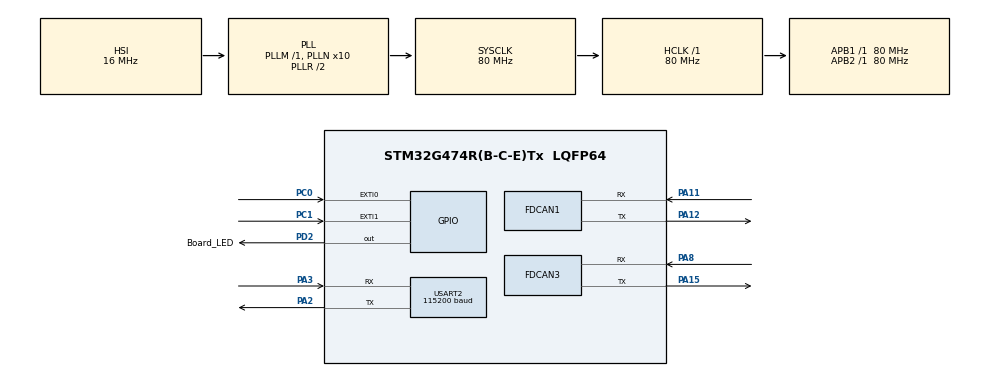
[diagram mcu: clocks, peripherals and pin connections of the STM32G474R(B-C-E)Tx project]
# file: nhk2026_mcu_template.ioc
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FDCAN1.AutoRetransmission=DISABLE
FDCAN1.CalculateBaudRateNominal=1000000
FDCAN1.CalculateTimeQuantumNominal=50.0
FDCAN1.ClockDivider=FDCAN_CLOCK_DIV1
FDCAN1.DataPrescaler=2
FDCAN1.DataSyncJumpWidth=1
FDCAN1.DataTimeSeg1=15
FDCAN1.DataTimeSeg2=4
FDCAN1.ExtFiltersNbr=0
FDCAN1.FrameFormat=FDCAN_FRAME_FD_BRS
FDCAN1.Mode=FDCAN_MODE_NORMAL
FDCAN1.NominalPrescaler=4
FDCAN1.NominalSyncJumpWidth=1
FDCAN1.NominalTimeSeg1=15
FDCAN1.NominalTimeSeg2=4
FDCAN1.ProtocolException=DISABLE
FDCAN1.StdFiltersNbr=1
FDCAN1.TransmitPause=DISABLE
FDCAN1.TxFifoQueueMode=FDCAN_TX_FIFO_OPERATION
FDCAN3.CalculateBaudRateNominal=1000000
FDCAN3.CalculateTimeBitNominal=1000
FDCAN3.CalculateTimeQuantumNominal=50.0
FDCAN3.DataPrescaler=2
FDCAN3.DataTimeSeg1=15
FDCAN3.DataTimeSeg2=4
FDCAN3.ExtFiltersNbr=1
FDCAN3.FrameFormat=FDCAN_FRAME_FD_BRS
FDCAN3.NominalPrescaler=4
FDCAN3.NominalTimeSeg1=15
FDCAN3.NominalTimeSeg2=4
FDCAN3.StdFiltersNbr=1
Mcu.Family=STM32G4
Mcu.Name=STM32G474R(B-C-E)Tx
Mcu.Package=LQFP64
NVIC.EXTI0_IRQn=true\:0\:0\:false\:false\:true\:true\:true\:true
NVIC.EXTI1_IRQn=true\:0\:0\:false\:false\:true\:true\:true\:true
NVIC.FDCAN1_IT0_IRQn=true\:0\:0\:false\:false\:true\:true\:true\:true
NVIC.FDCAN1_IT1_IRQn=true\:0\:0\:false\:false\:true\:true\:true\:true
NVIC.FDCAN3_IT0_IRQn=true\:0\:0\:false\:false\:true\:true\:true\:true
NVIC.FDCAN3_IT1_IRQn=true\:0\:0\:false\:false\:true\:true\:true\:true
NVIC.PriorityGroup=NVIC_PRIORITYGROUP_4
NVIC.TIM6_DAC_IRQn=true\:0\:0\:false\:false\:true\:true\:true\:true
PA11.Mode=FDCAN_Activate
PA11.Signal=FDCAN1_RX
PA12.Mode=FDCAN_Activate
PA12.Signal=FDCAN1_TX
PA15.Mode=FDCAN_Activate
PA15.Signal=FDCAN3_TX
PA2.Mode=Asynchronous
PA2.Signal=USART2_TX
PA3.Mode=Asynchronous
PA3.Signal=USART2_RX
PA8.Mode=FDCAN_Activate
PA8.Signal=FDCAN3_RX
PC0.GPIO_ModeDefaultEXTI=GPIO_MODE_IT_FALLING
PC0.GPIO_PuPd=GPIO_PULLUP
PC0.Signal=GPXTI0
PC1.GPIO_ModeDefaultEXTI=GPIO_MODE_IT_RISING
PC1.GPIO_PuPd=GPIO_PULLUP
PC1.Signal=GPXTI1
PD2.GPIO_Label=Board_LED
PD2.Signal=GPIO_Output
PF0-OSC_IN.Mode=HSE-External-Oscillator
PF0-OSC_IN.Signal=RCC_OSC_IN
PF1-OSC_OUT.Mode=HSE-External-Oscillator
PF1-OSC_OUT.Signal=RCC_OSC_OUT
ProjectManager.HeapSize=0x200
ProjectManager.StackSize=0x400
ProjectManager.TargetToolchain=CMake
RCC.ADC12Freq_Value=80000000
RCC.ADC345Freq_Value=80000000
RCC.AHBFreq_Value=80000000
RCC.APB1Freq_Value=80000000
RCC.APB1TimFreq_Value=80000000
RCC.APB2Freq_Value=80000000
RCC.APB2TimFreq_Value=80000000
RCC.CortexFreq_Value=80000000
RCC.EXTERNAL_CLOCK_VALUE=12288000
RCC.FLatency=FLASH_LATENCY_2
RCC.HCLKFreq_Value=80000000
RCC.HSE_VALUE=8000000
RCC.HSI48_VALUE=48000000
RCC.HSI_VALUE=16000000
RCC.LSE_VALUE=32768
RCC.PLLN=10
RCC.SYSCLKFreq_VALUE=80000000
RCC.SYSCLKSource=RCC_SYSCLKSOURCE_PLLCLK
RCC.USBFreq_Value=80000000
RCC.VCOOutputFreq_Value=160000000
TIM6.AutoReloadPreload=TIM_AUTORELOAD_PRELOAD_DISABLE
TIM6.CounterMode=TIM_COUNTERMODE_UP
TIM6.Dithering=Disable
TIM6.PeriodNoDither=999
TIM6.Prescaler=79
TIM6.TIM_MasterOutputTrigger=TIM_TRGO_RESET
USART2.AutoBaudRateEnableParam=UART_ADVFEATURE_AUTOBAUDRATE_DISABLE
USART2.BaudRate=115200
USART2.ClockPrescaler=PRESCALER_DIV1
USART2.DMADisableonRxErrorParam=ADVFEATURE_DMA_ENABLEONRXERROR
USART2.DataInvertParam=ADVFEATURE_DATAINV_DISABLE
USART2.FIFOMode=FIFOMODE_DISABLE
USART2.MSBFirstParam=ADVFEATURE_MSBFIRST_DISABLE
USART2.Mode=MODE_TX_RX
USART2.OneBitSampling=UART_ONE_BIT_SAMPLE_DISABLE
USART2.OverSampling=UART_OVERSAMPLING_16
USART2.OverrunDisableParam=ADVFEATURE_OVERRUN_ENABLE
USART2.Parity=PARITY_NONE
USART2.RXFIFOThreshold=RXFIFO_THRESHOLD_1EIGHTHFULL
USART2.RxPinLevelInvertParam=ADVFEATURE_RXINV_DISABLE
USART2.StopBits=STOPBITS_1
USART2.SwapParam=ADVFEATURE_SWAP_DISABLE
USART2.TXFIFOThreshold=TXFIFO_THRESHOLD_1EIGHTHFULL
USART2.TxPinLevelInvertParam=ADVFEATURE_TXINV_DISABLE
USART2.VirtualMode-Asynchronous=VM_ASYNC
USART2.WordLength=WORDLENGTH_8B
VP_SYS_VS_DBSignals.Mode=DisableDeadBatterySignals
VP_TIM6_VS_ClockSourceINT.Mode=Enable_Timer
board=custom

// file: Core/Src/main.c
/* USER CODE BEGIN Header */
/**
  ******************************************************************************
  * @file           : main.c
  * @brief          : Main program body
  ******************************************************************************
  * @attention
  *
  * Copyright (c) 2025 STMicroelectronics.
  * All rights reserved.
  *
  * This software is licensed under terms that can be found in the LICENSE file
  * in the root directory of this software component.
  * If no LICENSE file comes with this software, it is provided AS-IS.
  *
  ******************************************************************************
  */
/* USER CODE END Header */
#include "main.h"

/* USER CODE BEGIN Includes */
#include <stdio.h>
#include <memory.h>
#include <math.h>
/* USER CODE END Includes */

/* USER CODE BEGIN PTD */

typedef struct{
    volatile float speed_total_difference;
    volatile float speed_last_time_difference;
    float Kp, Ki, Kd, Ka;
    volatile uint16_t angle_data;
    volatile int16_t speed;
    volatile uint16_t can_id;
    int16_t speed_target;
    int16_t current_target;
    volatile uint16_t angle;
    volatile float current;
    volatile float lowpass_difference;
    volatile float angle_target;
    volatile float last_time_angle;
    volatile float angle_total_difference;
    volatile float angle_last_time_difference;
    volatile float angle_lowpass_difference;
    volatile int16_t rotate_last_time_angle;
    volatile int32_t rotate_total_angle;
    volatile int16_t rotate_now_angle;
    int init_flag;
    int16_t now_current;
    int16_t to_send_current;
    volatile int32_t can_now_time;
} Motor;

typedef struct
{
  uint16_t CANID;
  uint8_t motorID;
  float trgVel;
} hiradora;

typedef float float32_t;
typedef uint16_t float16_t;

typedef struct
{
  int32_t position;  // Current position (rad)
  int16_t velocity;  // Current velocity (rad/s)
  int16_t torque;    // Current torque (Nm)
  uint8_t mode;      // Current mode
  uint8_t error;
}motor_status;

typedef struct
{
  int16_t p_des;     // Target position (rad)
  int16_t v_des;     // Target velocity (rad/s)
  uint16_t kp;       // Position gain
  uint16_t kd;       // Velocity gain
  int16_t t_ff;      // Feed-forward torque (Nm)
}mit_command;

/* USER CODE END PTD */

/* USER CODE BEGIN PD */
#define CAN_ID_MACRO_kaetekudasai 0x7FE   // example CAN ID macro for testing
#define MAIN_CANID 0xFE
#define robo_ID 0x1
#define responce_CANID    0x211
#define robstride_target 0x211
#define robomas_target 0x212
#define motor_target 0x311
#define MOTOR_POWER_LOST_CANID 0x520     //モーターの電源がきれたことをcanで送信する時のid

#define motor_timeout_ms 500             //モーターの通信がきれてから電源がきれたと判断する時間
#define HOMING_SPEED 500

enum
{
  TARGET_ANGLE,
  TARGET_ANGULAR_VELOCITY,
  K_P,
  K_D,
  Torque
};
/* USER CODE END PD */

FDCAN_HandleTypeDef hfdcan1;
FDCAN_HandleTypeDef hfdcan3;

TIM_HandleTypeDef htim6;

UART_HandleTypeDef huart2;

/* USER CODE BEGIN PV */
FDCAN_TxHeaderTypeDef TxHeader;
FDCAN_TxHeaderTypeDef TxHeader_motor;

volatile uint8_t homing_done_201 = 0;
volatile uint8_t homing_done_202 = 0;

int mode[4] = {1,1,1,1};  // 0:位置制御, 1:速度制御, 2:カスケード制御, 3:電流制御
int motor_power_lost_flag[4] = {0, 0, 0, 0};
Motor motors[4]; // PID制御対象のモーター(ID 0x201~0x204想定)
uint8_t TxData[8] = {0};
uint8_t TxData2[8] = {0};
uint16_t kaitensuu = (uint16_t)(1.4 * 60);
uint8_t cutoff = 8;
uint16_t gravity = 0;

float syuusokuryoku = 0;
uint8_t TxData200[8] = {0}; // ID 1-4 (0x200で送信)用
uint8_t TxData1FF[8] = {0}; // ID 5-8 (0x1FFで送信)用
int16_t karentobaryu = 0;

uint8_t get_id = 0;
uint8_t motor_state=0;
int64_t Elapsed_time;
int len;
uint8_t init_pin = 0;
int is_outer_loop=0;

volatile float robstride_angle = 0.0;//アームの現在角度
volatile float robstride_angle_target = 0.0;

volatile float robomas_target_angle = 0.0;
volatile float target_angle_202 = 0.0f;
volatile float target_angle_201 = 0.0f;
/* USER CODE END PV */

void SystemClock_Config(void);
static void MX_GPIO_Init(void);
static void MX_USART2_UART_Init(void);
static void MX_FDCAN1_Init(void);
static void MX_TIM6_Init(void);
static void MX_FDCAN3_Init(void);
/* USER CODE BEGIN PFP */
void interboard_comms_CAN_filter_init(FDCAN_FilterTypeDef *Hfdcan_Filter_Settings);
void interboard_comms_CAN_txheader_init(FDCAN_TxHeaderTypeDef *Htxheader);
HAL_StatusTypeDef interboard_comms_CAN_RxTxSettings_init(FDCAN_TxHeaderTypeDef *Htxheader);

void motor_CAN_filter_init(FDCAN_FilterTypeDef *Hfdcan_Filter_Settings);
void motor_CAN_txheader_init(FDCAN_TxHeaderTypeDef *Htxheader);
HAL_StatusTypeDef motor_CAN_RxTxSettings_init(FDCAN_TxHeaderTypeDef *Htxheader);
HAL_StatusTypeDef CAN_SEND(uint32_t CANID, uint32_t DataLength, uint8_t *txdata, FDCAN_HandleTypeDef *hfdcan, FDCAN_TxHeaderTypeDef *htxheader);

void move_hiradora(hiradora *Hiradora_handler);
void move_motor(Motor *motor_typedef);
void update_total_angle(Motor *m);
int pid(float v, float mokuhyou, float p, float i, float d, volatile float *gosagoukei, volatile float *lowpastgosa, float gravity, int cutoff, volatile float *maenogosa, int h);
mit_command robosutoraido;
float16_t convert_f32_f16(float32_t);
float32_t convert_f16_f32(float16_t);
void u8_to_int(uint8_t *req, int32_t *des, uint32_t uint8_len);
void u8_to_float(uint8_t *req, float *des, uint32_t uint8_len);
void float_to_u8(float *req, uint8_t *des, uint32_t float_len);
void int_to_u8(int32_t *req, uint8_t *des, uint32_t int_len);

void send_robstride(uint8_t Motor_canid, uint8_t mode, uint8_t *data, uint8_t *data2);

void mit_to_u8(mit_command *cmd, uint8_t *txdata, uint8_t *txdata2);
void move_robstride(mit_command *cmd, uint8_t motor_id);

void get_id_robstride(int motor_id);
void robstride_set_mechanical_zero(uint8_t motor_id);
void robstride_write_param_u32(uint8_t motor_id, uint16_t index, uint32_t value);
void robstride_write_param_f32(uint8_t motor_id, uint16_t index, float value);
void robstride_mode_pp_init(uint8_t motor_id, float vel_max, float acc_set);
void robstride_move(uint8_t motor_id, float target_position);
void robstride_enable_run(uint8_t motor_id);
void robstride_disable_or_clear_fault(uint8_t motor_id, uint8_t clear);

uint16_t map_robstride(float x, int mode);
/* USER CODE END PFP */

/* USER CODE BEGIN 0 */

float unmap_robstride(uint16_t x, int mode)
{
    float before_min, before_max, after_min, after_max;
    switch(mode)
    {
        case TARGET_ANGLE:
            before_min = 0.0;
            before_max = 65535.0;
            after_min = -4 * M_PI;
            after_max = 4 * M_PI;
            break;
        case TARGET_ANGULAR_VELOCITY:
            before_min = 0.0;
            before_max = 65535.0;
            after_min = -44.0;
            after_max = 44.0;
            break;
        case Torque:
            before_min = 0.0;
            before_max = 65535.0;
            after_min = -17.0;
            after_max = 17.0;
            break;
        default:
            return 0.0f;
    }
    return after_min + ((float)x - before_min) * (after_max - after_min) / (before_max - before_min);
}

// void HAL_GPIO_EXTI_Callback(uint16_t GPIO_Pin) {
//   if((kokoichi_Pin==GPIO_Pin)){
//     if(motor_state==0){
//       motor_state=1;
//       Elapsed_time=HAL_GetTick();
//     }else {
//       init_pin = 1;
//     }

//   }
// }

void HAL_GPIO_EXTI_Callback(uint16_t GPIO_Pin)
{
  if (GPIO_Pin == GPIO_PIN_0) //0x202用リミットスイッチ
  {
    // 角度を0とみなす処理は毎回
    motors[1].rotate_last_time_angle   = motors[1].angle_data;
    motors[1].rotate_total_angle       = 0;
    motors[1].angle_target             = 0.0f;
    motors[1].angle_total_difference   = 0;
    motors[1].angle_last_time_difference = 0;
    motors[1].angle_lowpass_difference = 0;
    motors[1].speed_total_difference   = 0;
    motors[1].speed_last_time_difference = 0;
    motors[1].lowpass_difference       = 0;

    // ホーミング完了フラグは最初の1回だけ
    if (!homing_done_202)
    {
      homing_done_202 = 1;
    }
  }
  else if (GPIO_Pin == GPIO_PIN_1) //0x201用リミットスイッチ
  {

    // ホーミング完了フラグは最初の1回だけ
    if (!homing_done_201)
    {
      // 角度を0とみなす処理は毎回
      motors[0].rotate_last_time_angle   = motors[0].angle_data;
      motors[0].rotate_total_angle       = 0;
      motors[0].angle_target             = 0.0f;
      motors[0].angle_total_difference   = 0;
      motors[0].angle_last_time_difference = 0;
      motors[0].angle_lowpass_difference = 0;
      motors[0].speed_total_difference   = 0;
      motors[0].speed_last_time_difference = 0;
      motors[0].lowpass_difference       = 0;
      homing_done_201 = 1;
    }
  }
}

void HAL_FDCAN_RxFifo1Callback(FDCAN_HandleTypeDef *hfdcan, uint32_t RxFifo1ITs){
	if (RESET != (RxFifo1ITs & FDCAN_IT_RX_FIFO1_NEW_MESSAGE)) {

    /* Retrieve Rx messages from RX FIFO1 */
		uint8_t RxData[64] = {};
    FDCAN_RxHeaderTypeDef RxHeader;
		if (HAL_OK != HAL_FDCAN_GetRxMessage(&hfdcan1, FDCAN_RX_FIFO1, &RxHeader, RxData)) {
			printf("fdcan_getrxmessage is error\r\n");
			Error_Handler();
		}

    len = 0;
    switch (RxHeader.DataLength)
    {
    case FDCAN_DLC_BYTES_0:
      len = 0;
      break;
    case FDCAN_DLC_BYTES_1:
      len = 1;
      break;
    case FDCAN_DLC_BYTES_2:
      len = 2;
      break;
    case FDCAN_DLC_BYTES_3:
      len = 3;
      break;
    case FDCAN_DLC_BYTES_4:
      len = 4;
      break;
    case FDCAN_DLC_BYTES_5:
      len = 5;
      break;
    case FDCAN_DLC_BYTES_6:
      len = 6;
      break;
    case FDCAN_DLC_BYTES_7:
      len = 7;
      break;
    case FDCAN_DLC_BYTES_8:
      len = 8;
      break;
    case FDCAN_DLC_BYTES_12:
      len = 12;
      break;
    case FDCAN_DLC_BYTES_16:
      len = 16;
      break;
    case FDCAN_DLC_BYTES_20:
      len = 20;
      break;
    case FDCAN_DLC_BYTES_24:
      len = 24;
      break;
    case FDCAN_DLC_BYTES_32:
      len = 32;
      break;
    case FDCAN_DLC_BYTES_48:
      len = 48;
      break;
    case FDCAN_DLC_BYTES_64:
      len = 64;
      break;
    default:
      break;
    }

    float rxdata_f[5];

  switch (RxHeader.Identifier)
  {
    case 0x230:  // 角度目標(度数)を受信
      int32_t rxdata_i[2];
      u8_to_int(RxData, rxdata_i, len);
      target_angle_202 = (float)rxdata_i[0] * 8192.0f / 360.0f * 36.0f;  // 前半
      target_angle_201 = (float)rxdata_i[1] * 8192.0f / 360.0f * 36.0f;  // 後半
    break;
    case motor_target:
      u8_to_float(RxData,rxdata_f,len);
      robstride_angle_target = rxdata_f[0];
      robomas_target_angle  = rxdata_f[3]*8192.0 / 360.0 * 180.0 /M_PI*36;
    break;
  default:
    break;
}

}

}

void HAL_FDCAN_RxFifo0Callback(FDCAN_HandleTypeDef *hfdcan, uint32_t RxFifo0ITs) {

  uint8_t RxData[8] = {0};
  FDCAN_RxHeaderTypeDef RxHeader;

  if ((RxFifo0ITs & FDCAN_IT_RX_FIFO0_NEW_MESSAGE) != RESET) {
    if (HAL_OK != HAL_FDCAN_GetRxMessage(&hfdcan3, FDCAN_RX_FIFO0, &RxHeader, RxData)) {
      printf("fdcan_getrxmessage_motor is error\r\n");
      Error_Handler();
    }

    if (FDCAN_STANDARD_ID == RxHeader.IdType)
    {
      // モーター情報の更新 (Input 2のロジックを採用)
      for (int i = 0; i < 4; i++) {
        if (RxHeader.Identifier == motors[i].can_id) {
          motors[i].angle_data = (uint16_t)((RxData[0] << 8) | RxData[1]);
          motors[i].speed = (int16_t)((RxData[2] << 8) | RxData[3]);
          motors[i].now_current = (int16_t)((RxData[4] << 8) | RxData[5]); // トルク電流
          motors[i].init_flag = 1;
          motors[i].can_now_time = HAL_GetTick();
        }
      }
    }
    else if (FDCAN_EXTENDED_ID == RxHeader.IdType)
    {
      uint8_t cmd_type = (RxHeader.Identifier >> 24) & 0x1F;
      uint8_t motor_id = (RxHeader.Identifier >> 8) & 0xFF; // 下位8bitがモーターID

      if (cmd_type == 0x00)
      {
        get_id = (uint16_t)((RxHeader.Identifier >> 8) & 0xFFFFu);
      }
      else if (cmd_type == 0x02) // Motor operation status feedback
      {
        // 最初の2バイトが角度データ
        uint16_t angle_u16 = (RxData[0] << 8) | RxData[1];
        float actual_angle = unmap_robstride(angle_u16, TARGET_ANGLE);

        if (motor_id == robo_ID) {
          robstride_angle = actual_angle;
        }
      }

    }
  }
}

void HAL_TIM_PeriodElapsedCallback(TIM_HandleTypeDef *htim) {

  uint32_t now = HAL_GetTick();

  for (int h = 0; h < 2; h++) {
    if (motors[h].init_flag == 1) {
      if (1199 > (now - motors[h].can_now_time) && (now - motors[h].can_now_time) > motor_timeout_ms) {
        // 電源断が続いている間、0.5から1.2秒の間は毎回送信
        int32_t power_status = 1;
        uint8_t pwr_data[8] = {0};
        int_to_u8(&power_status, pwr_data, 1);

        FDCAN_TxHeaderTypeDef TxHeader_pwr = TxHeader;
        CAN_SEND(MOTOR_POWER_LOST_CANID, FDCAN_DLC_BYTES_8, pwr_data, &hfdcan1, &TxHeader_pwr);
      }
    }
  }

  // モーター0が一度でも通信できていて、かつ最後の通信から1200ms以上経過したら電源が切れたと判断
  if (motors[0].init_flag == 1 && (now - motors[0].can_now_time) > 1200) {
    NVIC_SystemReset(); // マイコン自身を強制的に再起動（初期化）する
  }

  if (htim == &htim6) {
    int send200_flag = 0;
    int send1FF_flag = 0;
    static int init_flag_201 = 0;
    static int init_flag_202 = 0;

    /*初期状態でリミットスイッチを押しているか判定*/
    if (HAL_GPIO_ReadPin(GPIOC, GPIO_PIN_1) == GPIO_PIN_SET  && init_flag_201 == 0 && motors[0].init_flag == 1)   // PC1: motors[0](0x201)用。実際の押下時レベルに合わせて条件を要確認
    {
      motors[0].rotate_last_time_angle   = motors[0].angle_data;
      motors[0].rotate_total_angle       = 0;
      motors[0].angle_target             = 0.0f;
      motors[0].angle_total_difference   = 0;
      motors[0].angle_last_time_difference = 0;
      motors[0].angle_lowpass_difference = 0;
      motors[0].speed_total_difference   = 0;
      motors[0].speed_last_time_difference = 0;
      motors[0].lowpass_difference       = 0;
      homing_done_201 = 1;
      init_flag_201 = 1;
    }
  if (HAL_GPIO_ReadPin(GPIOC, GPIO_PIN_0) == GPIO_PIN_RESET && init_flag_202 == 0 && motors[1].init_flag == 1) // PC0: motors[1](0x202)用。実際の押下時レベルに合わせて条件を要確認
  {
    motors[1].rotate_last_time_angle   = motors[1].angle_data;
    motors[1].rotate_total_angle       = 0;
    motors[1].angle_target             = 0.0f;
    motors[1].angle_total_difference   = 0;
    motors[1].angle_last_time_difference = 0;
    motors[1].angle_lowpass_difference = 0;
    motors[1].speed_total_difference   = 0;
    motors[1].speed_last_time_difference = 0;
    motors[1].lowpass_difference       = 0;
    homing_done_202 = 1;
    init_flag_202 = 1;
  }

    for (int h = 0; h < 4; h++) {

      uint8_t need_homing  = 0;
      uint8_t homing_ready = 1;   // ホーミング不要なモーターは常に「完了扱い」

      if (motors[h].can_id == 0x201) {
        need_homing  = 1;
        homing_ready = homing_done_201;
      } else if (motors[h].can_id == 0x202) {
        need_homing  = 1;
        homing_ready = homing_done_202;
      }

      if (need_homing && !homing_ready) {
        mode[h] = 1; // 原点探索中: 速度制御
      } else {
        mode[h] = 2; // カスケード制御(通常運転)
        if (motors[h].can_id == 0x201) {
          motors[h].angle_target = target_angle_201;
          if (motors[h].angle_target > 0.0f) {
            motors[h].angle_target = 0.0f;
          }
        } else if (motors[h].can_id == 0x202) {
          motors[h].angle_target = target_angle_202;
        }
      }

      motors[h].rotate_now_angle = motors[h].angle_data;
      update_total_angle(&motors[h]);

      if (mode[h] == 1) {
        //一定速度でリミットスイッチに向かって回転
        motors[h].speed_target = HOMING_SPEED;

        motors[h].Kp = 5.0f;
        motors[h].Ki = 1.0f;
        motors[h].Kd = 10.0f;
        is_outer_loop = 0;

        karentobaryu = (int)pid(
          (float)motors[h].speed, (float)motors[h].speed_target,
          motors[h].Kp, motors[h].Ki, motors[h].Kd,
          &motors[h].speed_total_difference, &motors[h].lowpass_difference,
        gravity, cutoff, &motors[h].speed_last_time_difference, h);
      }

      if (mode[h] == 2) {
        // (ここから下は既存のカスケード制御ロジックをそのまま)
        motors[h].Kp = 1.2f;
        motors[h].Ki = 0.0f;
        motors[h].Kd = 0.0f;
        is_outer_loop = 1;
        motors[h].speed_target = (int)pid(
        (float)motors[h].rotate_total_angle, motors[h].angle_target,
        motors[h].Kp, motors[h].Ki, motors[h].Kd,
        &motors[h].angle_total_difference, &motors[h].angle_lowpass_difference,
        gravity, cutoff, &motors[h].angle_last_time_difference, h);
        if (motors[h].speed_target >  5200) motors[h].speed_target =  5200;
        if (motors[h].speed_target < -5200) motors[h].speed_target = -5200;

        motors[h].Kp = 5.0f;
        motors[h].Ki = 1.0f;
        motors[h].Kd = 10.0f;
        is_outer_loop = 0;
        karentobaryu = (int)pid(
        (float)motors[h].speed, (float)motors[h].speed_target,
        motors[h].Kp, motors[h].Ki, motors[h].Kd,
        &motors[h].speed_total_difference, &motors[h].lowpass_difference,
        gravity, cutoff, &motors[h].speed_last_time_difference, h);

        int error_abs = (int)(motors[h].angle_target - motors[h].rotate_total_angle);
        if (error_abs < 0) error_abs = -error_abs;
          #define SOFTZONE 60
        if (error_abs < SOFTZONE) {
          float scale = (float)error_abs / (float)SOFTZONE;
        if (scale < 0.2f) scale = 0.2f;
          karentobaryu = (int)(karentobaryu * scale);
        }

        int speed_abs = (int)motors[h].speed;
        if (speed_abs < 0) speed_abs = -speed_abs;

        static uint32_t allowable_error[4] = {0};
        if (error_abs < 40 && speed_abs < 40) allowable_error[h] = 1;
        if (error_abs > 80)                   allowable_error[h] = 0;

        if (allowable_error[h]) {
          karentobaryu = 0;
          motors[h].angle_total_difference = 0;
          motors[h].speed_total_difference = 0;
          motors[h].angle_last_time_difference = 0;
          motors[h].speed_last_time_difference = 0;
        }
      }
      if (mode[h] == 3) { // 電流制御
        motors[h].current_target=1000;
        // motors[h].Kp = 15.0;
        // motors[h].Ki = 8.0;
        // motors[h].Kd = 0.0;
        //karentobaryu=(int)(pid(motors[h].c_current,motors[h].cmokuhyou,motors[h].Kp,motors[h].Ki,motors[h].Kd,&motors[h].gosagoukei,&motors[h].lowpastgosa,gravity,cutoff,&motors[h].maenogosa));
        karentobaryu = motors[h].current_target;
      }

      // 送信データの作成
      if (motors[h].can_id >= 0x201 && motors[h].can_id <= 0x204) {
        int idx = (motors[h].can_id - 0x201) * 2;
        TxData200[idx] = (karentobaryu >> 8) & 0xFF;
        TxData200[idx + 1] = karentobaryu & 0xFF;
        send200_flag = 1;
      } else if (motors[h].can_id >= 0x205 && motors[h].can_id <= 0x208) {
        int idx = (motors[h].can_id - 0x205) * 2;
        TxData1FF[idx] = (karentobaryu >> 8) & 0xFF;
        TxData1FF[idx + 1] = karentobaryu & 0xFF;
        send1FF_flag = 1;
      }

      motors[h].angle = motors[h].angle_data * 360 / 8192;
    }

    if (send200_flag) {
      TxHeader_motor.Identifier = 0x200;
      TxHeader_motor.DataLength = FDCAN_DLC_BYTES_8; // 念のため
      if (HAL_FDCAN_AddMessageToTxFifoQ(&hfdcan3, &TxHeader_motor, TxData200) != HAL_OK) {
          // Error Handling
      }
    }

    if (send1FF_flag) {
      TxHeader_motor.Identifier = 0x1FF;
      if (HAL_FDCAN_AddMessageToTxFifoQ(&hfdcan3, &TxHeader_motor, TxData1FF) != HAL_OK) {
          // Error Handling
      }
    }

    static int send_counter = 0;
    send_counter++;
    if(send_counter >= 10){
      send_counter = 0;
      float robomas_angle = motors[0].rotate_total_angle /  8192.0 * 2 * M_PI;
      float motor_angle[2] = {robstride_angle,robomas_angle};

      uint8_t tx_angle[8];
      float_to_u8(motor_angle,tx_angle,2);

      FDCAN_TxHeaderTypeDef TxHeader_angle = TxHeader;
      CAN_SEND(responce_CANID, FDCAN_DLC_BYTES_8, tx_angle, &hfdcan1, &TxHeader_angle);

    }
  }
}

int _write(int file,char *ptr,int len)
{
  HAL_UART_Transmit(&huart2, (uint8_t*)ptr, len, 10);
  return len;
}
/* USER CODE END 0 */

int main(void)
{

  /* USER CODE BEGIN 1 */
  setbuf(stdout, NULL);
  /* USER CODE END 1 */

  /* MCU Configuration--------------------------------------------------------*/

  /* Reset of all peripherals, Initializes the Flash interface and the Systick. */
  HAL_Init();

  /* Configure the system clock */
  SystemClock_Config();

  /* Initialize all configured peripherals */
  MX_GPIO_Init();
  MX_USART2_UART_Init();
  MX_FDCAN1_Init();
  MX_TIM6_Init();
  MX_FDCAN3_Init();
  /* USER CODE BEGIN 2 */

  __HAL_RCC_CLEAR_RESET_FLAGS();

  if (HAL_OK != interboard_comms_CAN_RxTxSettings_init(&TxHeader)) Error_Handler();
  HAL_TIM_Base_Start_IT(&htim6);
  if (HAL_OK != motor_CAN_RxTxSettings_init(&TxHeader_motor)) Error_Handler();

  robosutoraido.p_des=0; robosutoraido.v_des=1000; robosutoraido.kd=3000; robosutoraido.kp=3000; robosutoraido.t_ff=1000;

  for (int i = 0; i < 4; i++) {
    motors[i].Kp = 1.0;     // 位置制御用ゲイン (調整してください)
    motors[i].Ki = 0.0;
    motors[i].Kd = 0.0;     // 必要に応じて入れる
    motors[i].can_id = 0x201 + i;
    motors[i].init_flag = 0;

    motors[i].speed_total_difference = 0;
    motors[i].speed_last_time_difference = 0;
    motors[i].speed = 0;
    motors[i].angle_data = 0;
    motors[i].rotate_total_angle = 0;      // とりあえず0
    motors[i].lowpass_difference = 0;
  }

  printf("start!\r\n");
  printf("Waiting for motor data to set HOME position...\r\n");

  // --- 1. まずモーターからの通信が来るのを待つ ---
  // これがないと、初期位置(last_raw_ecd)が0のまま計算が始まり、
  // 起動直後に巨大な角度変化として誤検知されて暴走する。
  while (1) {
    int ready_count = 0;
    for (int i = 0; i < 4; i++) {
      if (motors[i].init_flag == 1) {
        ready_count++;
      }
    }
    // とりあえず1個でも通信できたら次へ（全モーター繋いでいるなら == 4 にする）
    if (ready_count >= 1) {
      HAL_Delay(100); // データ安定待ち
      break;
    }
    HAL_Delay(10);
  }

  printf("Motor data received. Setting current position as ZERO.\r\n");

  for (int i = 0; i < 4; i++) {
  motors[i].rotate_last_time_angle = motors[i].angle_data;
  motors[i].rotate_total_angle = 0;
  motors[i].angle_target = 0.0f;   // 0度
  motors[i].angle_total_difference = 0;
  motors[i].angle_last_time_difference = 0;
  motors[i].angle_lowpass_difference = 0;
  }

  robstride_disable_or_clear_fault(robo_ID, 1);
  HAL_Delay(50);

  robstride_mode_pp_init(robo_ID, 1.0, 1.0);
  HAL_Delay(10);

  /* USER CODE END 2 */

  /* Infinite loop */
  /* USER CODE BEGIN WHILE */
  while (1)
  {
    // robstride_move(robo_ID, robstride_angle_target);
    // printf("angle:%f,robmas:%d\r\n",robstride_angle,(int)robomas_target_angle);
    printf("angle:%f\r\n",(int)robomas_target_angle);
    HAL_Delay(100);
    /* USER CODE END WHILE */

  }
}

void SystemClock_Config(void)
{
  RCC_OscInitTypeDef RCC_OscInitStruct = {0};
  RCC_ClkInitTypeDef RCC_ClkInitStruct = {0};

  /** Configure the main internal regulator output voltage
  */
  HAL_PWREx_ControlVoltageScaling(PWR_REGULATOR_VOLTAGE_SCALE1);

  /** Initializes the RCC Oscillators according to the specified parameters
  * in the RCC_OscInitTypeDef structure.
  */
  RCC_OscInitStruct.OscillatorType = RCC_OSCILLATORTYPE_HSI;
  RCC_OscInitStruct.HSIState = RCC_HSI_ON;
  RCC_OscInitStruct.HSICalibrationValue = RCC_HSICALIBRATION_DEFAULT;
  RCC_OscInitStruct.PLL.PLLState = RCC_PLL_ON;
  RCC_OscInitStruct.PLL.PLLSource = RCC_PLLSOURCE_HSI;
  RCC_OscInitStruct.PLL.PLLM = RCC_PLLM_DIV1;
  RCC_OscInitStruct.PLL.PLLN = 10;
  RCC_OscInitStruct.PLL.PLLP = RCC_PLLP_DIV2;
  RCC_OscInitStruct.PLL.PLLQ = RCC_PLLQ_DIV2;
  RCC_OscInitStruct.PLL.PLLR = RCC_PLLR_DIV2;
  if (HAL_RCC_OscConfig(&RCC_OscInitStruct) != HAL_OK)
  {
    Error_Handler();
  }

  /** Initializes the CPU, AHB and APB buses clocks
  */
  RCC_ClkInitStruct.ClockType = RCC_CLOCKTYPE_HCLK|RCC_CLOCKTYPE_SYSCLK
                              |RCC_CLOCKTYPE_PCLK1|RCC_CLOCKTYPE_PCLK2;
  RCC_ClkInitStruct.SYSCLKSource = RCC_SYSCLKSOURCE_PLLCLK;
  RCC_ClkInitStruct.AHBCLKDivider = RCC_SYSCLK_DIV1;
  RCC_ClkInitStruct.APB1CLKDivider = RCC_HCLK_DIV1;
  RCC_ClkInitStruct.APB2CLKDivider = RCC_HCLK_DIV1;

  if (HAL_RCC_ClockConfig(&RCC_ClkInitStruct, FLASH_LATENCY_2) != HAL_OK)
  {
    Error_Handler();
  }
}

static void MX_FDCAN1_Init(void)
{

  hfdcan1.Instance = FDCAN1;
  hfdcan1.Init.ClockDivider = FDCAN_CLOCK_DIV1;
  hfdcan1.Init.FrameFormat = FDCAN_FRAME_FD_BRS;
  hfdcan1.Init.Mode = FDCAN_MODE_NORMAL;
  hfdcan1.Init.AutoRetransmission = DISABLE;
  hfdcan1.Init.TransmitPause = DISABLE;
  hfdcan1.Init.ProtocolException = DISABLE;
  hfdcan1.Init.NominalPrescaler = 4;
  hfdcan1.Init.NominalSyncJumpWidth = 1;
  hfdcan1.Init.NominalTimeSeg1 = 15;
  hfdcan1.Init.NominalTimeSeg2 = 4;
  hfdcan1.Init.DataPrescaler = 2;
  hfdcan1.Init.DataSyncJumpWidth = 1;
  hfdcan1.Init.DataTimeSeg1 = 15;
  hfdcan1.Init.DataTimeSeg2 = 4;
  hfdcan1.Init.StdFiltersNbr = 1;
  hfdcan1.Init.ExtFiltersNbr = 0;
  hfdcan1.Init.TxFifoQueueMode = FDCAN_TX_FIFO_OPERATION;
  if (HAL_FDCAN_Init(&hfdcan1) != HAL_OK)
  {
    Error_Handler();
  }

}

static void MX_FDCAN3_Init(void)
{

  hfdcan3.Instance = FDCAN3;
  hfdcan3.Init.ClockDivider = FDCAN_CLOCK_DIV1;
  hfdcan3.Init.FrameFormat = FDCAN_FRAME_FD_BRS;
  hfdcan3.Init.Mode = FDCAN_MODE_NORMAL;
  hfdcan3.Init.AutoRetransmission = DISABLE;
  hfdcan3.Init.TransmitPause = DISABLE;
  hfdcan3.Init.ProtocolException = DISABLE;
  hfdcan3.Init.NominalPrescaler = 4;
  hfdcan3.Init.NominalSyncJumpWidth = 1;
  hfdcan3.Init.NominalTimeSeg1 = 15;
  hfdcan3.Init.NominalTimeSeg2 = 4;
  hfdcan3.Init.DataPrescaler = 2;
  hfdcan3.Init.DataSyncJumpWidth = 1;
  hfdcan3.Init.DataTimeSeg1 = 15;
  hfdcan3.Init.DataTimeSeg2 = 4;
  hfdcan3.Init.StdFiltersNbr = 1;
  hfdcan3.Init.ExtFiltersNbr = 1;
  hfdcan3.Init.TxFifoQueueMode = FDCAN_TX_FIFO_OPERATION;
  if (HAL_FDCAN_Init(&hfdcan3) != HAL_OK)
  {
    Error_Handler();
  }

}

static void MX_TIM6_Init(void)
{

  TIM_MasterConfigTypeDef sMasterConfig = {0};

  htim6.Instance = TIM6;
  htim6.Init.Prescaler = 79;
  htim6.Init.CounterMode = TIM_COUNTERMODE_UP;
  htim6.Init.Period = 999;
  htim6.Init.AutoReloadPreload = TIM_AUTORELOAD_PRELOAD_DISABLE;
  if (HAL_TIM_Base_Init(&htim6) != HAL_OK)
  {
    Error_Handler();
  }
  sMasterConfig.MasterOutputTrigger = TIM_TRGO_RESET;
  sMasterConfig.MasterSlaveMode = TIM_MASTERSLAVEMODE_DISABLE;
  if (HAL_TIMEx_MasterConfigSynchronization(&htim6, &sMasterConfig) != HAL_OK)
  {
    Error_Handler();
  }

}

static void MX_USART2_UART_Init(void)
{

  huart2.Instance = USART2;
  huart2.Init.BaudRate = 115200;
  huart2.Init.WordLength = UART_WORDLENGTH_8B;
  huart2.Init.StopBits = UART_STOPBITS_1;
  huart2.Init.Parity = UART_PARITY_NONE;
  huart2.Init.Mode = UART_MODE_TX_RX;
  huart2.Init.HwFlowCtl = UART_HWCONTROL_NONE;
  huart2.Init.OverSampling = UART_OVERSAMPLING_16;
  huart2.Init.OneBitSampling = UART_ONE_BIT_SAMPLE_DISABLE;
  huart2.Init.ClockPrescaler = UART_PRESCALER_DIV1;
  huart2.AdvancedInit.AdvFeatureInit = UART_ADVFEATURE_NO_INIT;
  if (HAL_UART_Init(&huart2) != HAL_OK)
  {
    Error_Handler();
  }
  if (HAL_UARTEx_SetTxFifoThreshold(&huart2, UART_TXFIFO_THRESHOLD_1_8) != HAL_OK)
  {
    Error_Handler();
  }
  if (HAL_UARTEx_SetRxFifoThreshold(&huart2, UART_RXFIFO_THRESHOLD_1_8) != HAL_OK)
  {
    Error_Handler();
  }
  if (HAL_UARTEx_DisableFifoMode(&huart2) != HAL_OK)
  {
    Error_Handler();
  }

}

static void MX_GPIO_Init(void)
{
  GPIO_InitTypeDef GPIO_InitStruct = {0};

  /* GPIO Ports Clock Enable */
  __HAL_RCC_GPIOF_CLK_ENABLE();
  __HAL_RCC_GPIOC_CLK_ENABLE();
  __HAL_RCC_GPIOA_CLK_ENABLE();
  __HAL_RCC_GPIOD_CLK_ENABLE();

  /*Configure GPIO pin Output Level */
  HAL_GPIO_WritePin(Board_LED_GPIO_Port, Board_LED_Pin, GPIO_PIN_RESET);

  /*Configure GPIO pin : PC0 */
  GPIO_InitStruct.Pin = GPIO_PIN_0;
  GPIO_InitStruct.Mode = GPIO_MODE_IT_FALLING;
  GPIO_InitStruct.Pull = GPIO_PULLUP;
  HAL_GPIO_Init(GPIOC, &GPIO_InitStruct);

  /*Configure GPIO pin : PC1 */
  GPIO_InitStruct.Pin = GPIO_PIN_1;
  GPIO_InitStruct.Mode = GPIO_MODE_IT_RISING;
  GPIO_InitStruct.Pull = GPIO_PULLUP;
  HAL_GPIO_Init(GPIOC, &GPIO_InitStruct);

  /*Configure GPIO pin : Board_LED_Pin */
  GPIO_InitStruct.Pin = Board_LED_Pin;
  GPIO_InitStruct.Mode = GPIO_MODE_OUTPUT_PP;
  GPIO_InitStruct.Pull = GPIO_NOPULL;
  GPIO_InitStruct.Speed = GPIO_SPEED_FREQ_LOW;
  HAL_GPIO_Init(Board_LED_GPIO_Port, &GPIO_InitStruct);

  /* EXTI interrupt init*/
  HAL_NVIC_SetPriority(EXTI0_IRQn, 0, 0);
  HAL_NVIC_EnableIRQ(EXTI0_IRQn);

  HAL_NVIC_SetPriority(EXTI1_IRQn, 0, 0);
  HAL_NVIC_EnableIRQ(EXTI1_IRQn);

}

/* USER CODE BEGIN 4 */
void interboard_comms_CAN_filter_init(FDCAN_FilterTypeDef *Hfdcan_Filter_Settings)
{
  Hfdcan_Filter_Settings->IdType = FDCAN_STANDARD_ID;
  Hfdcan_Filter_Settings->FilterIndex = 0;
  Hfdcan_Filter_Settings->FilterType = FDCAN_FILTER_RANGE;
  Hfdcan_Filter_Settings->FilterConfig = FDCAN_FILTER_TO_RXFIFO1;
  Hfdcan_Filter_Settings->FilterID1 = 0x00;
  Hfdcan_Filter_Settings->FilterID2 = 0x7ff;
}

void interboard_comms_CAN_txheader_init(FDCAN_TxHeaderTypeDef *Htxheader)
{
  Htxheader->Identifier = 0x00;
  Htxheader->IdType = FDCAN_STANDARD_ID;
  Htxheader->TxFrameType = FDCAN_DATA_FRAME;
  Htxheader->DataLength = FDCAN_DLC_BYTES_8;
  Htxheader->ErrorStateIndicator = FDCAN_ESI_ACTIVE;
  Htxheader->FDFormat = FDCAN_FD_CAN;
  Htxheader->BitRateSwitch = FDCAN_BRS_ON;
  Htxheader->TxEventFifoControl = FDCAN_NO_TX_EVENTS;
  Htxheader->MessageMarker = 0;
}

HAL_StatusTypeDef interboard_comms_CAN_RxTxSettings_init(FDCAN_TxHeaderTypeDef *Htxheader)
{
  FDCAN_FilterTypeDef FDCAN_Filter_settings;
  interboard_comms_CAN_filter_init(&FDCAN_Filter_settings);
  interboard_comms_CAN_txheader_init(Htxheader);
  if (HAL_OK != HAL_FDCAN_ConfigFilter(&hfdcan1, &FDCAN_Filter_settings))
  {
    printf("fdcan_configfilter is error\r\n");
    return HAL_ERROR;
  }
  if (HAL_OK != HAL_FDCAN_ConfigGlobalFilter(&hfdcan1, FDCAN_REJECT, FDCAN_FILTER_REJECT, FDCAN_FILTER_REMOTE, FDCAN_FILTER_REMOTE))
  {
    printf("fdcan_configglobalfilter is error\r\n");
    return HAL_ERROR;
  }
  if (HAL_OK != HAL_FDCAN_Start(&hfdcan1))
  {
    printf("fdcan_start is error\r\n");
    return HAL_ERROR;
  }
  if (HAL_OK != HAL_FDCAN_ActivateNotification(&hfdcan1, FDCAN_IT_RX_FIFO1_NEW_MESSAGE, 0))
  {
    printf("fdcan_activatenotification is error\r\n");
    return HAL_ERROR;
  }

  return HAL_OK;
}

// CAN_SEND(0x7FE, TxData, &hfdcan1, &TxHeader); // example usage
HAL_StatusTypeDef CAN_SEND(uint32_t CANID, uint32_t DataLength, uint8_t *txdata, FDCAN_HandleTypeDef *hfdcan, FDCAN_TxHeaderTypeDef *htxheader)
{
  htxheader->DataLength = DataLength;
  htxheader->Identifier = CANID;
  if (HAL_OK != HAL_FDCAN_AddMessageToTxFifoQ(hfdcan, htxheader, txdata))
  {
    return HAL_ERROR;
  }
  return HAL_OK;
}

void u8_to_float(uint8_t *req, float *des, uint32_t uint8_len)
{
  union IntAndFloat {
    uint32_t ival;
    float fval;
  };
  for(int i = 0; i < uint8_len/4; i++){
    uint32_t f32_u32 = ((req[i*4] << 24) | (req[i*4+1] << 16) | (req[i*4+2] << 8) | (req[i*4+3]));
    union IntAndFloat target;
    target.ival = f32_u32;
    des[i] = target.fval;
  }
}

void u8_to_int(uint8_t *req, int32_t *des, uint32_t uint8_len)
{
  for(int i = 0; i < uint8_len/4; i++){
    uint32_t u32 = ((req[i*4] << 24) | (req[i*4+1] << 16) | (req[i*4+2] << 8) | (req[i*4+3]));
    des[i] = (int32_t)u32;
  }
}

void float_to_u8(float *req, uint8_t *des, uint32_t float_len)
{
  union IntAndFloat {
    uint32_t ival;
    float fval;
  };
  for (int i = 0; i < float_len; i++)
  {
    union IntAndFloat target;
    target.fval = req[i];
    uint32_t val = target.ival;
    des[i*4    ] = (uint8_t)((val >> 24) & 0xff);
    des[i*4 + 1] = (uint8_t)((val >> 16) & 0xff);
    des[i*4 + 2] = (uint8_t)((val >>  8) & 0xff);
    des[i*4 + 3] = (uint8_t)((val      ) & 0xff);
  }
}

void int_to_u8(int32_t *req, uint8_t *des, uint32_t int_len)
{
  for (int i = 0; i < int_len; i++)
  {
    uint32_t val = (uint32_t)req[i];
    des[i*4    ] = (uint8_t)((val >> 24) & 0xff);
    des[i*4 + 1] = (uint8_t)((val >> 16) & 0xff);
    des[i*4 + 2] = (uint8_t)((val >>  8) & 0xff);
    des[i*4 + 3] = (uint8_t)((val      ) & 0xff);
  }
}

void motor_CAN_filter_init(FDCAN_FilterTypeDef *Hfdcan_Filter_Settings)
{
  Hfdcan_Filter_Settings->IdType = FDCAN_STANDARD_ID;
  Hfdcan_Filter_Settings->FilterIndex = 0;
  Hfdcan_Filter_Settings->FilterType = FDCAN_FILTER_RANGE;
  Hfdcan_Filter_Settings->FilterConfig = FDCAN_FILTER_TO_RXFIFO0;
  Hfdcan_Filter_Settings->FilterID1 = 0x200;
  Hfdcan_Filter_Settings->FilterID2 = 0x410;
}

void motor_CAN_txheader_init(FDCAN_TxHeaderTypeDef *Htxheader)
{
  Htxheader->Identifier = 0x200;
  Htxheader->IdType = FDCAN_STANDARD_ID;
  Htxheader->TxFrameType = FDCAN_DATA_FRAME;
  Htxheader->DataLength = FDCAN_DLC_BYTES_8;
  Htxheader->ErrorStateIndicator = FDCAN_ESI_ACTIVE;
  Htxheader->FDFormat = FDCAN_CLASSIC_CAN;
  Htxheader->BitRateSwitch = FDCAN_BRS_OFF;
  Htxheader->TxEventFifoControl = FDCAN_NO_TX_EVENTS;
  Htxheader->MessageMarker = 0;
}

void robstride_CAN_filter_init(FDCAN_FilterTypeDef *Hfdcan_Filter_Settings)
{
  Hfdcan_Filter_Settings->IdType = FDCAN_EXTENDED_ID;
  Hfdcan_Filter_Settings->FilterIndex = 0;
  Hfdcan_Filter_Settings->FilterType = FDCAN_FILTER_MASK;
  Hfdcan_Filter_Settings->FilterConfig = FDCAN_FILTER_TO_RXFIFO0;
  Hfdcan_Filter_Settings->FilterID1 = 0x00;
  Hfdcan_Filter_Settings->FilterID2 = 0x0000000;
}

HAL_StatusTypeDef motor_CAN_RxTxSettings_init(FDCAN_TxHeaderTypeDef *Htxheader)
{
  FDCAN_FilterTypeDef FDCAN_Filter_settings;
  FDCAN_FilterTypeDef FDCAN_Filter_settings_robstride;
  motor_CAN_filter_init(&FDCAN_Filter_settings);
  robstride_CAN_filter_init(&FDCAN_Filter_settings_robstride);
  motor_CAN_txheader_init(Htxheader);
  if (HAL_OK != HAL_FDCAN_ConfigFilter(&hfdcan3, &FDCAN_Filter_settings))
  {
    printf("fdcan_configfilter is error\r\n");
    return HAL_ERROR;
  }
  if (HAL_OK != HAL_FDCAN_ConfigFilter(&hfdcan3, &FDCAN_Filter_settings_robstride))
  {
    printf("fdcan_configfilter robstride is error\r\n");
    return HAL_ERROR;
  }
  if (HAL_OK != HAL_FDCAN_ConfigGlobalFilter(&hfdcan3, FDCAN_REJECT, FDCAN_REJECT, FDCAN_FILTER_REMOTE, FDCAN_FILTER_REMOTE))
  {
    printf("fdcan_configglobalfilter is error\r\n");
    return HAL_ERROR;
  }
  if (HAL_OK != HAL_FDCAN_Start(&hfdcan3))
  {
    printf("fdcan_start is error\r\n");
    return HAL_ERROR;
  }
  if (HAL_OK != HAL_FDCAN_ActivateNotification(&hfdcan3, FDCAN_IT_RX_FIFO0_NEW_MESSAGE, 0))
  {
    printf("fdcan_activatenotification is error\r\n");
    return HAL_ERROR;
  }

  return HAL_OK;
}

void move_motor(Motor *motor_typedef)
{
  uint8_t TxData[8] = {};
  for (int i = 0; i < 4; i++)
  {
    TxData[i*2] = (uint8_t)(motor_typedef[i].to_send_current >> 8);
    TxData[i*2 + 1] = (uint8_t)(motor_typedef[i].to_send_current & 0xff);
  }
  CAN_SEND(0x200, FDCAN_DLC_BYTES_8, TxData, &hfdcan3, &TxHeader_motor);
}

float16_t convert_f32_f16(float32_t fp32){
    uint32_t fp32_bits = *(uint32_t*)&fp32;
    uint16_t sign = (fp32_bits >> 31) & 1;
    uint16_t exponent = (fp32_bits >> 23) & 0xff;
    uint32_t mantissa = fp32_bits & 0x7fffff;
    uint16_t fp16_bits;

    if(exponent == 0xFF){
        if(mantissa == 0){
            //NaN
            fp16_bits = 0x1F << 10 | 1;
        }else{
            //+inf/-inf
            fp16_bits = sign << 15 | 0x1F << 10;
        }
    }else{
        if(exponent > 16 + 127){
            //Overflow
            fp16_bits = sign << 15 | 0x1F << 10;
        }else if(exponent < - 15 + 127){
            //Underflow
            return sign << 15;
        }else{
            fp16_bits = sign << 15 | (exponent + 15 - 127) << 10 | mantissa >> 14;
        }
    }
    return *(float16_t*)&fp16_bits;
}

float32_t convert_f16_f32(float16_t fp16){
    uint16_t fp16_bits = *(uint16_t*)&fp16;
    uint32_t sign = (fp16_bits >> 15) & 1;
    uint32_t exponent = (fp16_bits >> 10) & 0x1F;
    uint32_t mantissa = fp16_bits & 0x3FF;
    uint32_t fp32_bits = 0;

    if(exponent == 0x1F){
        if(mantissa == 0){
            //NaN
            fp32_bits = 0xFF << 23 | 1;
        }else{
            //+inf/-inf
            fp32_bits = sign << 31 | 0xFF << 23;
        }
    }else{
        if(exponent == 0){
            fp32_bits = sign << 31;
        }else{
            fp32_bits = sign << 31 | (exponent - 15 + 127) << 23 | mantissa << 14;
        }
    }

    return *(float32_t*)&fp32_bits;
}

void move_hiradora(hiradora *Hiradora_handler)
{
  uint8_t TxData[8] = {0};
  for (int i = 0; i < 4; i++)
  {
    float16_t trgVel_f16 = convert_f32_f16((float32_t)Hiradora_handler[i].trgVel);
    TxData[i*2] = (uint8_t)(trgVel_f16 >> 8);
    TxData[i*2 + 1] = (uint8_t)(trgVel_f16 & 0xff);
  }
  CAN_SEND(0x400, FDCAN_DLC_BYTES_8, TxData, &hfdcan3, &TxHeader_motor);
}

void update_total_angle(Motor *m) {
    int16_t diff = m->angle_data - m->rotate_last_time_angle;
    if (diff > 4096) {
        diff -= 8192;
    }
    if (diff < -4096) {
        diff += 8192;
    }
    m->rotate_total_angle += diff;
    m->rotate_last_time_angle = m->angle_data;
}

int pid(float v, float mokuhyou, float p, float i, float d, volatile float *gosagoukei, volatile float *lowpastgosa, float gravity, int cutoff, volatile float *maenogosa, int h) {
    float current = (float)v;
    float gosa = (mokuhyou - current);

    *gosagoukei += gosa * 0.001;
    if (*gosagoukei > 10000) *gosagoukei = 10000;
    if (*gosagoukei < -10000) *gosagoukei = -10000;

    float derivative = (gosa - *maenogosa);
    *lowpastgosa += (derivative - *lowpastgosa) / cutoff;
    if (*lowpastgosa > 100) *lowpastgosa = 100;
    if (*lowpastgosa < -100) *lowpastgosa = -100;

    if (is_outer_loop) {
        syuusokuryoku = p * gosa;           // 外側はP制御のみ
    } else {
        syuusokuryoku = p * gosa + i * (*gosagoukei) + d * (*lowpastgosa) + gravity;
        // 内側はフルPID（Ki・Kdが有効になる）
    }

    *maenogosa = gosa;

    if (syuusokuryoku > 16384.0f) {
        syuusokuryoku = 16384.0f;
    } else if (syuusokuryoku < -16384.0f) {
        syuusokuryoku = -16384.0f;
    }

    return (int16_t)syuusokuryoku;
}

void send_robstride(uint8_t Motor_canid, uint8_t mode, uint8_t *data, uint8_t *data2)
{
  FDCAN_TxHeaderTypeDef TxHeader_robstride = TxHeader_motor;
  TxHeader_robstride.IdType = FDCAN_EXTENDED_ID;
  CAN_SEND((uint32_t)(((mode & 0x1F) << 24) | ((data2[1] << 8 | data2[0]) << 8) | (Motor_canid & 0xFF)), FDCAN_DLC_BYTES_8, data, &hfdcan3, &TxHeader_robstride);
}

void mit_to_u8(mit_command *cmd, uint8_t *txdata, uint8_t *txdata2)
{
  txdata[0] = (uint8_t)(((uint16_t)cmd->p_des >> 8) & 0xFF);
  txdata[1] = (uint8_t)((uint16_t)cmd->p_des & 0xFF);
  txdata[2] = (uint8_t)(((uint16_t)cmd->v_des >> 8) & 0xFF);
  txdata[3] = (uint8_t)((uint16_t)cmd->v_des & 0xFF);
  txdata[4] = (uint8_t)(((uint16_t)cmd->kp >> 8) & 0xFF);
  txdata[5] = (uint8_t)((uint16_t)cmd->kp & 0xFF);
  txdata[6] = (uint8_t)(((uint16_t)cmd->kd >> 8) & 0xFF);
  txdata[7] = (uint8_t)((uint16_t)cmd->kd & 0xFF);

  txdata2[0] = (uint8_t)(((uint16_t)cmd->t_ff >> 8) & 0xFF);
  txdata2[1] = (uint8_t)((uint16_t)cmd->t_ff & 0xFF);
}

void move_robstride(mit_command *cmd, uint8_t motor_id)
{
  uint8_t TxData[8] = {0};
  uint8_t TxData2[2] = {0};

  mit_to_u8(cmd, TxData, TxData2);

  send_robstride(motor_id, 0x1, TxData, TxData2);
}
uint16_t map_robstride(float x, int mode)
{
    float before_min, before_max, after_min, after_max;
    switch(mode)
    {
        case TARGET_ANGLE:
            before_min = -4 * M_PI;
            before_max = 4 * M_PI;
            break;
        case TARGET_ANGULAR_VELOCITY:
            before_min = -44.0;
            before_max = 44.0;
            break;
        case K_P:
            before_min = 0.0;
            before_max = 500.0;
            break;
        case K_D:
            before_min = 0.0;
            before_max = 5.0;
            break;
    }
    after_min = 0.0;
    after_max = 65535.0;

    return after_min + (x - before_min) * (after_max - after_min) / (before_max - before_min);
}

void get_id_robstride(int motor_id)
{
  uint8_t data[8] = {0};
  uint8_t data2[2] = {0, MAIN_CANID};
  send_robstride(motor_id, 0x0, data, data2);
}

void robstride_set_mechanical_zero(uint8_t motor_id)
{
    uint8_t data[8] = {0};
    uint8_t data2[2] = {0};

    data2[0] = MAIN_CANID;
    data[0] = 1;

    send_robstride(motor_id, 0x6, data, data2);
}

void robstride_write_param_u32(uint8_t motor_id, uint16_t index, uint32_t value)
{
    uint8_t data[8] = {0};
    uint8_t data2[2] = {0};

    data2[0] = MAIN_CANID;  // bit15..8
    data2[1] = 0x00;        // 予約/未使用

    data[0] = (uint8_t)(index & 0xFF);        // little-endian
    data[1] = (uint8_t)((index >> 8) & 0xFF);
    data[2] = 0x00;
    data[3] = 0x00;
    data[4] = (uint8_t)(value & 0xFF);        // little-endian
    data[5] = (uint8_t)((value >> 8) & 0xFF);
    data[6] = (uint8_t)((value >> 16) & 0xFF);
    data[7] = (uint8_t)((value >> 24) & 0xFF);

    send_robstride(motor_id, 0x12, data, data2);
}

void robstride_write_param_f32(uint8_t motor_id, uint16_t index, float value)
{
    uint8_t data[8] = {0};
    uint8_t data2[2] = {0};

    data2[0] = MAIN_CANID;
    data2[1] = 0x00;

    data[0] = (uint8_t)(index & 0xFF);
    data[1] = (uint8_t)((index >> 8) & 0xFF);
    data[2] = 0x00;
    data[3] = 0x00;
    memcpy(&data[4], &value, 4); // STM32はlittle-endian

    send_robstride(motor_id, 0x12, data, data2);
}

void robstride_mode_pp_init(uint8_t motor_id, float vel_max, float acc_set)
{
  robstride_write_param_u32(motor_id, 0x7005, 1);   // position mode
  HAL_Delay(2);
  robstride_write_param_f32(motor_id, 0x7024, vel_max); // speed limit
  HAL_Delay(2);
  robstride_write_param_f32(motor_id, 0x7025, acc_set);
  HAL_Delay(2);
  robstride_write_param_u32(motor_id, 0x7017, 10);
   HAL_Delay(2);
  robstride_enable_run(motor_id);
}

void robstride_move(uint8_t motor_id, float target_position)
{
  robstride_write_param_f32(motor_id, 0x7016, target_position);
}

void robstride_enable_run(uint8_t motor_id)
{
  uint8_t d8[8] = {0};
  uint8_t d2[2] = {0};
  d2[0] = MAIN_CANID;
  send_robstride(motor_id, 0x3, d8, d2);
}

void robstride_disable_or_clear_fault(uint8_t motor_id, uint8_t clear)
{
  uint8_t data[8] = {0};
  uint8_t data2[2] = {0};

  data2[0] = MAIN_CANID;      // bit15..8 host/main CAN ID
  data2[1] = 0x00;            // 未使用

  data[0] = clear;   // clear fault when 1

  send_robstride(motor_id, 0x4, data, data2);
}
/* USER CODE END 4 */

void Error_Handler(void)
{
  __disable_irq();
  while (1)
  {
  }
}
